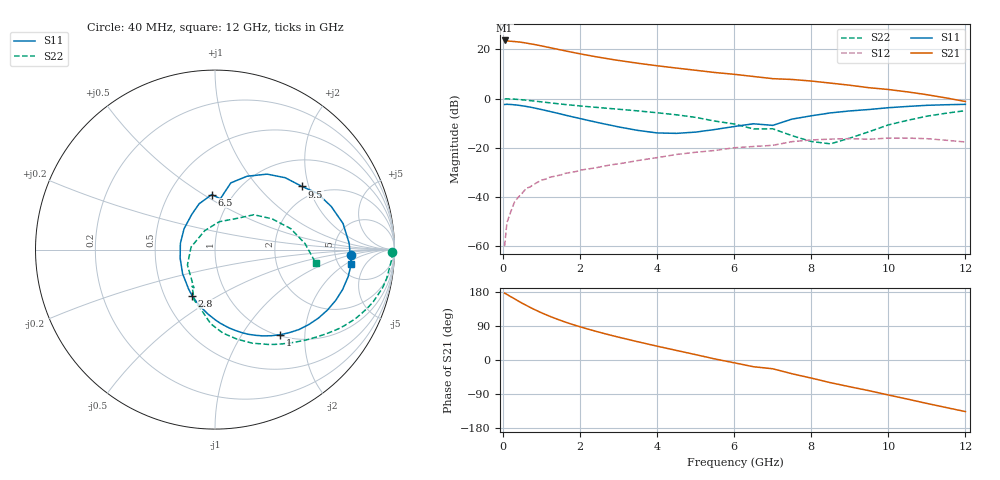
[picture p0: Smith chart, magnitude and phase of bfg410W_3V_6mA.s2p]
! Filename: 36bfg410.001
! BFG410W Field B1
! V1=8.573E-001V,V2=3.000E+000V, I1=8.479E-005A, I2=5.990E-003A
# GHz  S  MA  R 50
!  S11  S21  S12  S22
!Freq(GHz)  Mag  Ang  Mag  Ang  Mag  Ang  Mag  Ang
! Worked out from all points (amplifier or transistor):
!   44 points, 40 MHz to 12 GHz, reference 50 ohm
!   highest |S21| = 23.6 dB at 40 MHz (marker M1)
!   |S21| within 3 dB of that: start of sweep to 1.238 GHz
!   unconditionally stable (mu >= 1): 2.384 GHz to end of sweep
!   at 700 MHz: K = 0.38, MSG = 29.1 dB, |S12| = -35.9 dB
!   at 2.4 GHz: K = 1.01, MAG = 22.2 dB, |S12| = -28.2 dB
!   at 12 GHz: K = 1.56, MAG = 3.8 dB, |S12| = -17.7 dB
!   S11 on the Smith chart (normalised r, x): 40 MHz: 7.10, -0.95; 1 GHz: 1.02, -1.50; 2.8 GHz: 0.69, -0.38; 6.5 GHz: 0.80, +0.54; 9.5 GHz: 1.65, +1.81; 12 GHz: 6.52, -2.42
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0.04  0.757 -2.2  15.14 176.3  0.001 69.5  0.986 -0.8
0.1  0.764 -5.7  14.84 173.2  0.003 86.0  0.987 -2.9
0.3  0.745 -17.3  14.38 161.4  0.008 79.3  0.97 -9.5
0.5  0.711 -28.4  13.81 149.6  0.012 72.7  0.942 -15.5
0.6  0.691 -33.6  13.42 144.3  0.015 70.0  0.928 -18.3
0.8  0.646 -43.6  12.58 134.0  0.018 65.3  0.891 -23.5
1  0.597 -52.6  11.72 124.5  0.022 61.2  0.855 -28.1
1.3  0.527 -64.9  10.47 111.8  0.026 56.6  0.804 -34.1
1.6  0.463 -76.2  9.364 100.7  0.03 53.3  0.758 -39.3
1.9  0.409 -86.4  8.396 90.7  0.033 50.8  0.72 -44.1
2.2  0.361 -96.3  7.573 81.7  0.037 48.7  0.685 -48.7
2.8  0.286 -116.5  6.285 65.3  0.045 45.0  0.625 -57.7
3.5  0.225 -143.4  5.215 48.1  0.055 39.8  0.561 -68.3
4.5  0.196 169.8  4.161 25.3  0.073 29.5  0.467 -84.6
5.5  0.235 123.4  3.379 2.7  0.088 15.4  0.348 -102.1
6.5  0.307 93.4  2.806 -17.8  0.106 2.4  0.241 -121.9
7  0.285 84.0  2.535 -23.1  0.112 7.9  0.243 -119.0
8  0.446 66.4  2.268 -47.7  0.144 -18.1  0.134 173.9
8.5  0.511 55.4  2.058 -59.9  0.15 -30.7  0.12 118.5
9.5  0.599 36.0  1.659 -81.0  0.149 -50.7  0.212 55.0
10.5  0.691 20.3  1.364 -103.2  0.157 -71.6  0.361 28.4
12  0.763 -5.8  0.87 -136.1  0.131 -110.4  0.567 -7.7
